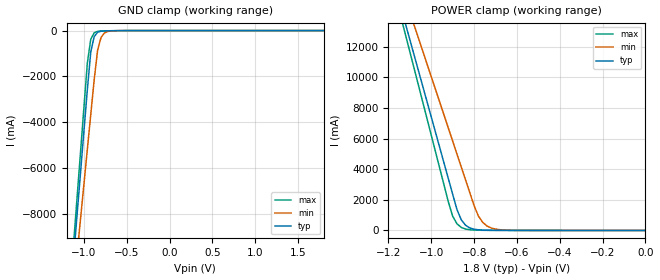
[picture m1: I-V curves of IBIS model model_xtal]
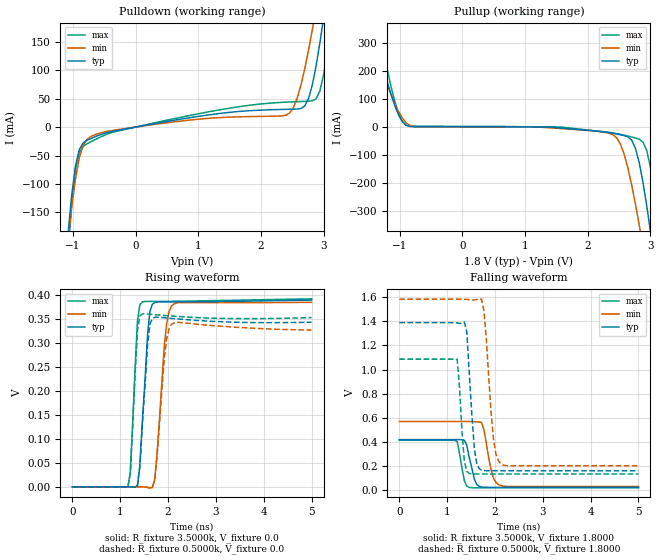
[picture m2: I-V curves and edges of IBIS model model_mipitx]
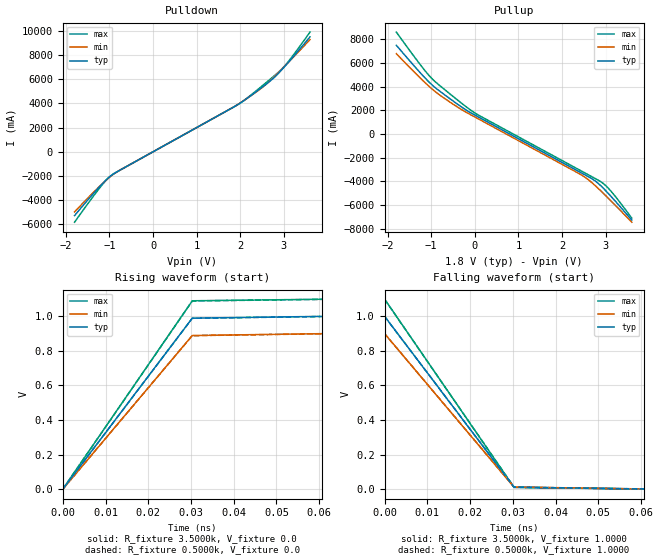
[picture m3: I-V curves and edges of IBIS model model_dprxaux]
| IBIS file ANX7530.ibs created by s2ibis3 verion 1.1
[IBIS ver]   3.2
[File name]   anx7530.ibs
[File Rev]   1.0
[Date]   Dec.28, 2016
[Source]   Analogix Semiconductor Inc.
[Notes]
[Disclaimer]  This is the proprietary document of Analogix Semiconductor Inc.
              No part of this file may be reproduced, stored in a retrieval
              system, or transmitted, in any form or by any means, electronic,
              mechanical, photocopying, recording, or otherwise, without the
              prior written premission of Analogix Semiconductor Inc.
[Copyright]   Copyright 2016 Analogix Semiconductor Inc.
|   Component ANX7530
[Component]   ANX7530
[Manufacturer]   Analogix Inc.
[Package]
| Package Parasitics
| variable   typ   min   max
R_pkg   883.59m   581.56m   1270.30m
L_pkg   2.1740nH   1.339nH   3.94800nH
C_pkg   0.8670pF   0.491pF   1.64500pF
[Pin]   signal_name   model_name
1	XTAL_OUT   model_xtal
2	XTAL_IN   model_xtal
3	AVSS   gnd
4   AVDD18   power
5	AVDD10   power
6	DP_RX_AUXP   model_dprxaux
7	DP_RX_AUXN   model_dprxaux
8   DVSS   gnd
9	DVDD10   power
10	DVDD18   power
11   MIPI_10_L3_N   model_mipitx
12   MIPI_10_L3_P   model_mipitx
13   MIPI_10_L0_N   model_mipitx
14   MIPI_10_L0_P   model_mipitx
15   MIPI_10_CLK_N   model_mipitx
16   MIPI_10_CLK_P   model_mipitx
17   MIPI_10_L1_N   model_mipitx
18   MIPI_10_L1_P   model_mipitx
19   MIPI_10_L2_N   model_mipitx
20   MIPI_10_L2_P   model_mipitx
21   MIPI_11_L2_N   model_mipitx
22   MIPI_11_L2_P   model_mipitx
23   MIPI_11_L1_N   model_mipitx
24   MIPI_11_L1_P   model_mipitx
25   MIPI_11_CLK_N   model_mipitx
26   MIPI_11_CLK_P   model_mipitx
27   MIPI_11_L0_N   model_mipitx
28   MIPI_11_L0_P   model_mipitx
29   MIPI_11_L3_N   model_mipitx
30   MIPI_11_L3_P   model_mipitx
31   MIPI_00_L3_N   model_mipitx
32   MIPI_00_L3_P   model_mipitx
33   MIPI_00_L0_N   model_mipitx
34   MIPI_00_L0_P   model_mipitx
35   MIPI_00_CLK_N   model_mipitx
36   MIPI_00_CLK_P   model_mipitx
37   MIPI_00_L1_N   model_mipitx
38   MIPI_00_L1_P   model_mipitx
39   MIPI_00_L2_N   model_mipitx
40   MIPI_00_L2_P   model_mipitx
41   MIPI_01_L2_N   model_mipitx
42   MIPI_01_L2_P   model_mipitx
43   MIPI_01_L1_N   model_mipitx
44   MIPI_01_L1_P   model_mipitx
45   MIPI_01_CLK_N   model_mipitx
46   MIPI_01_CLK_P   model_mipitx
47   MIPI_01_L0_N   model_mipitx
48   MIPI_01_L0_P   model_mipitx
49   MIPI_01_L3_N   model_mipitx
50   MIPI_01_L3_P   model_mipitx
51   TEST_EN   model_testn
52   I2S_WS   model_i2s
53   I2S_SCK   model_i2s
54   I2S_SD   model_i2s
55   I2S_MCLK   model_i2so
56   MSCL   model_ms
57   DP_RX_HPD   model_dprxhpd
58   I2C_SDA   model_i2c
59   I2C_SCL   model_i2c
60   RESETN   model_testn
61   MSDA   model_ms
62   I2C_ADDR_SEL   model_dprxhpd
63   DP_RX_L3_N   model_dprx
64   DP_RX_L3_P   model_dprx
65   DP_RX_L2_N   model_dprx
66   DP_RX_L2_P   model_dprx
67   DP_RX_L1_N   model_dprx
68   DP_RX_L1_P   model_dprx
69   DP_RX_L0_N   model_dprx
70   DP_RX_L0_P   model_dprx
71   DP_SOURCE_SENSE   model_svddana_anx
72   INTP   model_sanaio
73   DC_TP   model_sanaio
74   CHIP_POWER_UP   model_sanaio
75   AVDD18   power
76   AVDD18   power
77   AVDD18   power
78   AVDD18   power
79   AVDD18   power
80   AVDD10   power
81   AVDD10   power
82   AVDD10   power
83   AVSS   gnd
84   AVSS   gnd
85   AVSS   gnd
86   AVSS   gnd
87   AVSS   gnd
88   AVSS   gnd
89   AVSS   gnd
90   AVSS   gnd
91   AVSS   gnd
92   AVSS   gnd
93   AVSS   gnd
94   DVDD10   power
95   DVSS   gnd
96   DVSS   gnd
97   DVSS   gnd
98   DVSS   gnd
99   DVSS   gnd
100   DVDD18   power
| Models and submodels in the file (12): model_xtal (Input), model_mipitx (Output), model_dprxaux (Output), model_dprx (Input), model_testn (Input), model_i2s (I/O), model_i2so (Output), model_ms (I/O), model_dprxhpd (I/O), model_i2c (I/O), model_sanaio (I/O), model_svddana_anx (Input)
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[Model]  model_xtal
Model_type Input
Polarity   Non-Inverting
C_comp   2.3000pF   NA   NA
[Temperature Range]   27.0000   100.0000   0.0
[Voltage Range]   1.8000V   1.6200V   1.9800V
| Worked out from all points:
|   GND clamp passes 1 mA (typ) near -0.52 V on its own axis
|   POWER clamp passes 1 mA (typ) near -0.46 V on its own axis
[GND_clamp]
|Voltage   I(typ)   I(min)   I(max)
-1.8V     -41.12A    -37.42A    -43.07A
-1.12V    -9.872A    -11.29A    -9.268A
-1.08V    -8.044A    -9.764A    -7.295A
-1.04V    -6.22A     -8.236A    -5.327A
-960mV    -2.583A    -5.185A    -1.419A
-920mV    -935mA     -3.663A    -374mA
-880mV    -262.3mA   -2.143A    -97.06mA
-840mV    -75.02mA   -850.5mA   -33.71mA
-800mV    -26.67mA   -297mA     -18.52mA
-760mV    -13.4mA    -101.9mA   -13.47mA
-720mV    -8.743mA   -36.54mA   -10.57mA
1.8V      80.26pA    1.603uA    -355.3pA
[POWER_clamp]
|Voltage   I(typ)   I(min)   I(max)
-1.8V     47.86A     43.79A     49.88A
-1.14V    14.49A     15.95A     13.86A
-1.12V    13.48A     15.11A     12.77A
-1.1V     12.47A     14.27A     11.68A
-1.08V    11.46A     13.42A     10.59A
-1.06V    10.45A     12.58A     9.498A
-920mV    3.374A     6.68A      1.858A
-900mV    2.363A     5.837A     932.6mA
-860mV    698.9mA    4.15A      201mA
-780mV    42.67mA    941.9mA    17.35mA
-720mV    10.09mA    163.5mA    9.373mA
0V        80.26pA    884.6pA    75.75pA
[Model]  model_mipitx
Model_type Output
Polarity   Non-Inverting
C_comp   2.3000pF   NA   NA
[Temperature Range]   27.0000   100.0000   0.0
[Voltage Range]   1.8000V   1.6200V   1.9800V
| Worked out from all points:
|   slope of the pulldown table from 0 to 0.27 V, typ, clamps not added: 49.8 ohm
|   slope of the pullup table from 0 to 0.27 V, typ, clamps not added: 13 kohm
|   rising waveform, R_fixture 3.5000k, V_fixture 0.0: 20-80 % time 138ps typ, 160ps min, 110ps max; typ from 0 V to 0.388 V
|   rising waveform, R_fixture 0.5000k, V_fixture 0.0: 20-80 % time 133ps typ, 146ps min, 105ps max; typ from 0 V to 0.342 V
|   falling waveform, R_fixture 3.5000k, V_fixture 1.8000: 20-80 % time 136ps typ, 155ps min, 107ps max; typ from 0.42 V to 0.025 V
|   falling waveform, R_fixture 0.5000k, V_fixture 1.8000: 20-80 % time 121ps typ, 149ps min, 93.7ps max; typ from 1.39 V to 0.162 V
[Pulldown]
|Voltage   I(typ)   I(min)   I(max)
-1.8V     -1.48A     -1.215A    -1.952A
-1.08V    -189mA     -201.2mA   -223.5mA
-960mV    -68.49mA   -91.34mA   -74.43mA
-900mV    -39.8mA    -54.99mA   -44.67mA
-720mV    -20.38mA   -16.94mA   -26.19mA
2.4V      31.18mA    20.94mA    43.82mA
2.58V     31.75mA    51.16mA    44.67mA
2.7V      37.22mA    102.8mA    45.13mA
2.82V     73.94mA    170.5mA    46.1mA
3V        191.7mA    287.3mA    91.56mA
3.12V     289.7mA    370.8mA    187.2mA
3.6V      729.5mA    725.1mA    742.7mA
[Pullup]
|Voltage   I(typ)   I(min)   I(max)
-1.8V     697.1mA    569.4mA    927mA
-1.5V     416.9mA    350.9mA    549.6mA
-1.44V    362.8mA    308.8mA    476.6mA
-1.32V    258mA      227.3mA    335.2mA
-1.08V    75.88mA    83.42mA    91.06mA
-900mV    6.273mA    15.35mA    6.973mA
2.4V      -22.31mA   -27.17mA   -20.82mA
2.58V     -30.47mA   -96.45mA   -28.93mA
2.82V     -126.1mA   -348.1mA   -43.14mA
3V        -372.3mA   -591.9mA   -143.3mA
3.12V     -576mA     -765.6mA   -341.6mA
3.6V      -1.487A    -1.501A    -1.489A
[Ramp]
| variable   typ   min   max
dV/dt_r  0.1049/0.1121n   84.0600m/0.1322n   0.1192/94.8118p
dV/dt_f  0.4993/0.1183n   0.3862/0.1614n   0.5636/90.5961p
R_load = 50.0000
[Rising Waveform]
R_fixture= 3.5000k
V_fixture= 0.0
|time   V(typ)   V(min)   V(max)
0s        0V         0V         0V
1.16ns    20.75uV    0V         -379.3uV
1.21ns    52.56uV    -522.2nV   29.66mV
1.36ns    3.024mV    42.53uV    345mV
1.46ns    133mV      57.65uV    384.7mV
1.62ns    365mV      -2.109mV   385.7mV
1.72ns    383.4mV    14.61mV    385.7mV
1.92ns    384.7mV    291.6mV    385.8mV
2.07ns    384.7mV    375.9mV    385.9mV
5ns       388.4mV    383.8mV    391mV
[Rising Waveform]
R_fixture= 0.5000k
V_fixture= 0.0
|time   V(typ)   V(min)   V(max)
0s        0V         0V         0V
1.16ns    20.07uV    0V         -350.3uV
1.21ns    50.21uV    -495.8nV   28.99mV
1.36ns    3.004mV    40.83uV    325.6mV
1.46ns    126.9mV    51.65uV    359.7mV
1.62ns    338.2mV    -1.984mV   358.9mV
1.72ns    352.7mV    14.42mV    358mV
1.92ns    351.7mV    266mV      356.4mV
2.07ns    350.3mV    337.9mV    355.3mV
5ns       342.5mV    326.2mV    352mV
[Falling Waveform]
R_fixture= 3.5000k
V_fixture= 1.8000
|time   V(typ)   V(min)   V(max)
0s        420mV      570.3mV    416.1mV
1.21ns    420.1mV    570.3mV    404.8mV
1.36ns    415.2mV    570.3mV    79.56mV
1.57ns    92.08mV    568.5mV    20.66mV
1.72ns    27.89mV    562.3mV    20.43mV
1.77ns    25.93mV    500.5mV    20.43mV
1.92ns    24.88mV    166.9mV    20.43mV
2.02ns    24.83mV    65.9mV     20.43mV
2.12ns    24.83mV    39.41mV    20.43mV
5ns       24.83mV    31.51mV    20.43mV
[Falling Waveform]
R_fixture= 0.5000k
V_fixture= 1.8000
|time   V(typ)   V(min)   V(max)
0s        1.389V     1.583V     1.087V
1.21ns    1.387V     1.583V     1.084V
1.36ns    1.394V     1.583V     241.7mV
1.41ns    1.318V     1.582V     159.5mV
1.57ns    343.1mV    1.577V     134.7mV
1.72ns    167.3mV    1.584V     134.6mV
1.77ns    163.4mV    1.485V     134.6mV
1.97ns    161.8mV    423.5mV    134.6mV
2.12ns    161.8mV    222.3mV    134.6mV
5ns       161.8mV    202.8mV    134.6mV
[Model]  model_dprxaux
Model_type Output
Polarity   Non-Inverting
C_comp   0.7000pF   NA   NA
[Temperature Range]   27.0000   100.0000   0.0
[Voltage Range]   1.8000V   1.6200V   1.9800V
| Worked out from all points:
|   slope of the pulldown table from 0 to 0.27 V, typ, clamps not added: 500 mohm
|   slope of the pullup table from 0 to 0.27 V, typ, clamps not added: 500 mohm
|   rising waveform, R_fixture 3.5000k, V_fixture 0.0: 20-80 % time 18.4ps typ, 18.4ps min, 18.3ps max; typ from 0 V to 1 V
|   rising waveform, R_fixture 0.5000k, V_fixture 0.0: 20-80 % time 18.4ps typ, 18.4ps min, 18.3ps max; typ from 0 V to 0.999 V
|   falling waveform, R_fixture 3.5000k, V_fixture 1.0000: 20-80 % time 18.4ps typ, 18.4ps min, 18.4ps max; typ from 1 V to 0 V
|   falling waveform, R_fixture 0.5000k, V_fixture 1.0000: 20-80 % time 18.4ps typ, 18.4ps min, 18.4ps max; typ from 1 V to 0.001 V
[Pulldown]
|Voltage   I(typ)   I(min)   I(max)
-1.8V     -5.27A     -4.965A    -5.817A
-1.26V    -3.016A    -2.97A     -3.155A
-1.08V    -2.339A    -2.359A    -2.371A
-960mV    -1.963A    -1.995A    -1.961A
-720mV    -1.44A     -1.44A     -1.44A
2.04V     4.121A     4.13A      4.126A
2.52V     5.387A     5.355A     5.496A
2.76V     6.075A     6.135A     6.218A
2.94V     6.728A     6.782A     6.79A
3.18V     7.704A     7.674A     7.814A
3.6V      9.495A     9.272A     9.891A
[Pullup]
|Voltage   I(typ)   I(min)   I(max)
-1.8V     7.495A     6.783A     8.608A
-1.26V    5.208A     4.763A     5.9A
-1.02V    4.279A     3.928A     4.818A
-780mV    3.551A     3.226A     4.018A
-300mV    2.27A      2.055A     2.589A
60mV      1.48A      1.32A      1.645A
2.4V      -3.2A      -3.363A    -3.04A
2.7V      -3.812A    -4.159A    -3.64A
2.88V     -4.339A    -4.77A     -4.009A
3V        -4.782A    -5.2A      -4.349A
3.12V     -5.256A    -5.641A    -4.818A
3.6V      -7.27A     -7.45A     -7.108A
[Ramp]
| variable   typ   min   max
dV/dt_r  0.5942/18.1910p   0.5347/18.2208p   0.6528/18.1501p
dV/dt_f  0.5936/18.1962p   0.5347/18.2295p   0.6532/18.1684p
R_load = 50.0000
[Rising Waveform]
R_fixture= 3.5000k
V_fixture= 0.0
|time   V(typ)   V(min)   V(max)
0s        0V         0V         0V
30.3ps    989.5mV    889mV      1.09V
60.61ps   999.7mV    899.8mV    1.099V
3ns       1V         900mV      1.099V
[Rising Waveform]
R_fixture= 0.5000k
V_fixture= 0.0
|time   V(typ)   V(min)   V(max)
0s        0V         0V         0V
30.3ps    988.6mV    888.2mV    1.089V
60.61ps   998.8mV    899mV      1.098V
90.91ps   999.1mV    899.2mV    1.099V
3ns       999.2mV    899.2mV    1.098V
[Falling Waveform]
R_fixture= 3.5000k
V_fixture= 1.0000
|time   V(typ)   V(min)   V(max)
0s        1V         900mV      1.1V
30.3ps    10.9mV     11.51mV    10.25mV
60.61ps   294.1uV    202.3uV    391.9uV
3ns       -11.27uV   45uV       -59.7uV
[Falling Waveform]
R_fixture= 0.5000k
V_fixture= 1.0000
|time   V(typ)   V(min)   V(max)
0s        1V         900.1mV    1.099V
30.3ps    11.74mV    12.35mV    11.09mV
60.61ps   1.151mV    1.059mV    1.248mV
3ns       845uV      901.2uV    796.6uV
